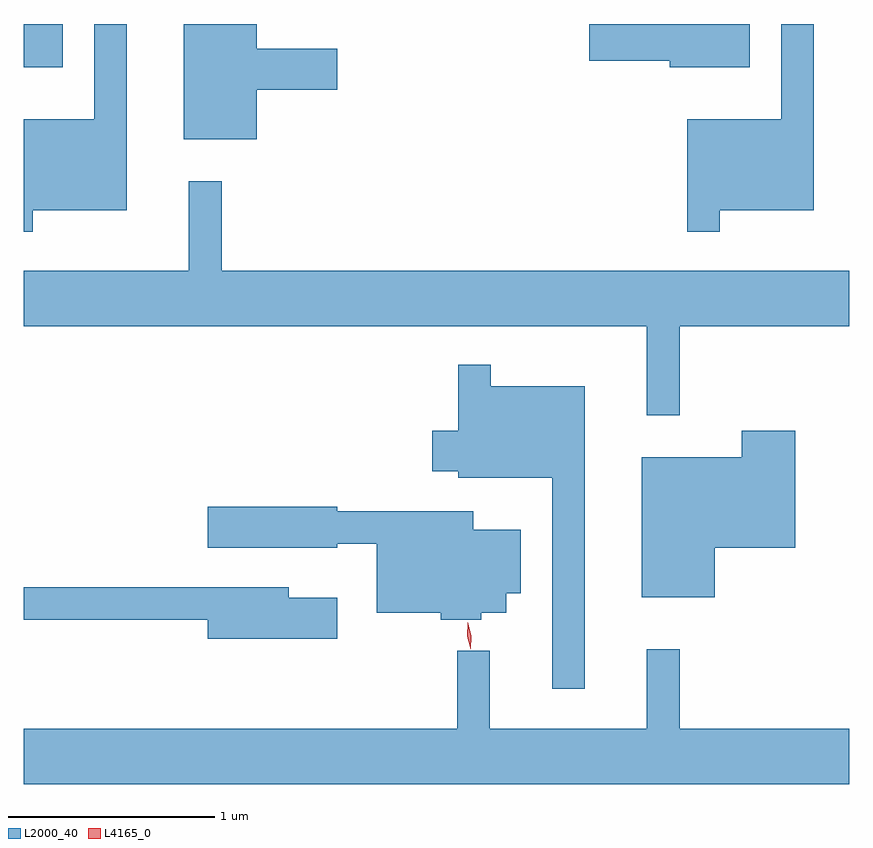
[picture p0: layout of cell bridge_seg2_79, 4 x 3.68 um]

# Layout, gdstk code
import gdstk
lib = gdstk.Library(unit=1e-6, precision=1e-09)
def R(c, l, rs):  # rectangles x0, y0, x1, y1
    for r in rs: c.add(gdstk.rectangle(r[:2], r[2:], *l))
def P(c, l, *ps):  # polygons
    for p in ps: c.add(gdstk.Polygon(p, *l))
L2000_40 = (2000, 40)
L4165_0 = (4165, 0)

bridge_seg2_79 = lib.new_cell('bridge_seg2_79')
R(bridge_seg2_79, L2000_40, [(1224.476,1067.331,1224.664,1067.54)])
P(bridge_seg2_79, L2000_40, [(1227.849,1066.636),(1228.304,1066.636),(1228.304,1067.54),(1228.146,1067.54),(1228.146,1067.079),(1227.691,1067.079),(1227.691,1066.533),(1227.849,1066.533)],
  [(1225.604,1067.221),(1225.994,1067.221),(1225.994,1067.419),(1225.604,1067.419),(1225.604,1067.54),(1225.251,1067.54),(1225.251,1066.981),(1225.604,1066.981)],
  [(1224.519,1066.636),(1224.974,1066.636),(1224.974,1067.54),(1224.816,1067.54),(1224.816,1067.079),(1224.476,1067.079),(1224.476,1066.533),(1224.519,1066.533)],
  [(1227.994,1067.54),(1227.216,1067.54),(1227.216,1067.361),(1227.606,1067.361),(1227.606,1067.331),(1227.994,1067.331)],
  [(1227.654,1066.076),(1228.476,1066.076),(1228.476,1066.344),(1225.434,1066.344),(1225.434,1066.778),(1225.276,1066.778),(1225.276,1066.344),(1224.476,1066.344),(1224.476,1066.076),(1227.496,1066.076),(1227.496,1065.643),(1227.654,1065.643)],
  [(1227.194,1065.784),(1226.739,1065.784),(1226.739,1065.888),(1226.581,1065.888),(1226.581,1065.569),(1226.456,1065.569),(1226.456,1065.371),(1226.581,1065.371),(1226.581,1065.341),(1227.036,1065.341),(1227.036,1064.318),(1227.194,1064.318)],
  [(1227.824,1065.001),(1228.214,1065.001),(1228.214,1065.569),(1227.956,1065.569),(1227.956,1065.439),(1227.471,1065.439),(1227.471,1064.761),(1227.824,1064.761)],
  [(1226.694,1064.686),(1226.814,1064.686),(1226.814,1064.781),(1226.884,1064.781),(1226.884,1065.089),(1226.654,1065.089),(1226.654,1065.179),(1225.994,1065.179),(1225.994,1065.199),(1225.366,1065.199),(1225.366,1065.001),(1225.994,1065.001),(1225.994,1065.021),(1226.186,1065.021),(1226.186,1064.686),(1226.496,1064.686),(1226.496,1064.651),(1226.694,1064.651)],
  [(1225.994,1064.759),(1225.759,1064.759),(1225.759,1064.809),(1224.476,1064.809),(1224.476,1064.651),(1225.366,1064.651),(1225.366,1064.561),(1225.994,1064.561)],
  [(1228.476,1064.124),(1227.654,1064.124),(1227.654,1064.508),(1227.496,1064.508),(1227.496,1064.124),(1226.734,1064.124),(1226.734,1064.503),(1226.576,1064.503),(1226.576,1064.124),(1224.476,1064.124),(1224.476,1063.856),(1228.476,1063.856)])
P(bridge_seg2_79, L4165_0, [(1226.641,1064.508),(1226.625,1064.573),(1226.627,1064.64),(1226.628,1064.64),(1226.628,1064.64),(1226.645,1064.575),(1226.642,1064.508),(1226.642,1064.508)])

lib.write_gds('bridge_seg2_79.gds')
